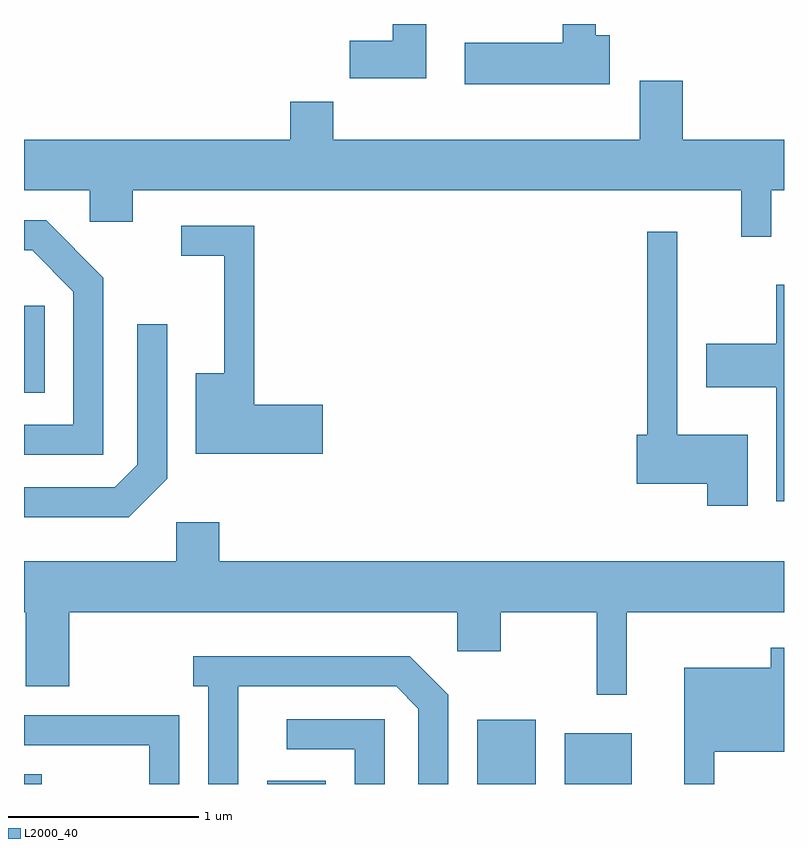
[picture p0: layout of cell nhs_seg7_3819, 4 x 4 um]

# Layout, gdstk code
import gdstk
lib = gdstk.Library(unit=1e-6, precision=1e-09)
def R(c, l, rs):  # rectangles x0, y0, x1, y1
    for r in rs: c.add(gdstk.rectangle(r[:2], r[2:], *l))
def P(c, l, *ps):  # polygons
    for p in ps: c.add(gdstk.Polygon(p, *l))
L2000_40 = (2000, 40)

nhs_seg7_3819 = lib.new_cell('nhs_seg7_3819')
R(nhs_seg7_3819, L2000_40, [(301.611,1762.252,301.704,1762.304), (302.891,1762.252,303.199,1762.269), (303.996,1762.252,304.304,1762.589), (304.456,1762.252,304.809,1762.519), (301.611,1764.311,301.719,1764.769)])
P(nhs_seg7_3819, L2000_40, [(304.694,1766.194),(304.619,1766.194),(304.619,1766.252),(304.446,1766.252),(304.446,1766.154),(303.931,1766.154),(303.931,1765.936),(304.694,1765.936)],
  [(303.729,1766.252),(303.551,1766.252),(303.551,1766.164),(303.326,1766.164),(303.326,1765.966),(303.729,1765.966)],
  [(305.544,1765.376),(305.611,1765.376),(305.611,1765.644),(305.079,1765.644),(305.079,1765.954),(304.851,1765.954),(304.851,1765.644),(303.239,1765.644),(303.239,1765.844),(303.011,1765.844),(303.011,1765.644),(301.611,1765.644),(301.611,1765.376),(301.956,1765.376),(301.956,1765.211),(302.184,1765.211),(302.184,1765.376),(305.386,1765.376),(305.386,1765.133),(305.544,1765.133)],
  [(302.029,1764.917),(301.727,1765.219),(301.611,1765.219),(301.611,1765.061),(301.654,1765.061),(301.871,1764.844),(301.871,1764.144),(301.611,1764.144),(301.611,1763.986),(302.029,1763.986)],
  [(303.184,1764.249),(302.824,1764.249),(302.824,1765.189),(302.438,1765.189),(302.438,1765.031),(302.666,1765.031),(302.666,1764.414),(302.516,1764.414),(302.516,1763.991),(303.184,1763.991)],
  [(305.419,1764.089),(305.049,1764.089),(305.049,1765.158),(304.891,1765.158),(304.891,1764.089),(304.836,1764.089),(304.836,1763.831),(305.206,1763.831),(305.206,1763.716),(305.419,1763.716)],
  [(305.611,1764.879),(305.571,1764.879),(305.571,1764.569),(305.201,1764.569),(305.201,1764.341),(305.571,1764.341),(305.571,1763.741),(305.611,1763.741)],
  [(302.364,1763.859),(302.364,1764.673),(302.206,1764.673),(302.206,1763.932),(302.089,1763.814),(301.611,1763.814),(301.611,1763.656),(302.162,1763.656)],
  [(304.784,1763.156),(305.611,1763.156),(305.611,1763.424),(302.639,1763.424),(302.639,1763.629),(302.411,1763.629),(302.411,1763.424),(301.611,1763.424),(301.611,1763.156),(301.621,1763.156),(301.621,1762.766),(301.849,1762.766),(301.849,1763.156),(303.891,1763.156),(303.891,1762.951),(304.119,1762.951),(304.119,1763.156),(304.626,1763.156),(304.626,1762.723),(304.784,1762.723)],
  [(305.244,1762.421),(305.611,1762.421),(305.611,1762.968),(305.541,1762.968),(305.541,1762.864),(305.086,1762.864),(305.086,1762.252),(305.244,1762.252)],
  [(302.739,1762.766),(303.569,1762.766),(303.686,1762.649),(303.686,1762.252),(303.844,1762.252),(303.844,1762.722),(303.642,1762.924),(302.503,1762.924),(302.503,1762.766),(302.581,1762.766),(302.581,1762.252),(302.739,1762.252)],
  [(302.429,1762.614),(301.611,1762.614),(301.611,1762.456),(302.271,1762.456),(302.271,1762.252),(302.429,1762.252)],
  [(303.509,1762.594),(302.993,1762.594),(302.993,1762.436),(303.351,1762.436),(303.351,1762.252),(303.509,1762.252)])

lib.write_gds('nhs_seg7_3819.gds')
